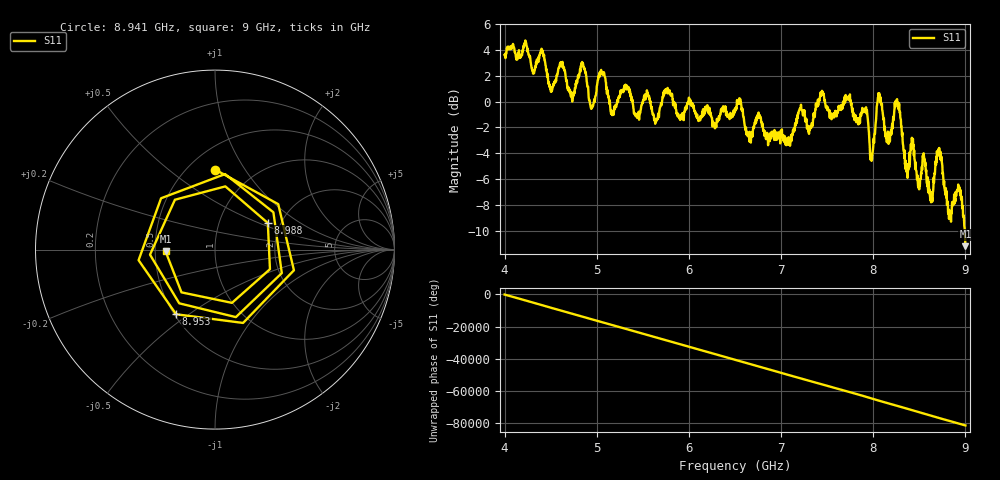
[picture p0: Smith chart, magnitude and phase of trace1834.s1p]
! Created with skrf 1.8.0 (http://scikit-rf.org).
# Hz S RI R 50.0
!freq ReS11 ImS11
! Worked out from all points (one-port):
!   1601 points, 4 GHz to 9 GHz, reference 50 ohm
!   lowest |S11| = -11.2 dB at 9 GHz (marker M1), VSWR 1.76, Z = 28.4 - j0.646 ohm
!   |S11| at or under -10 dB: 8.992923 GHz to end of sweep
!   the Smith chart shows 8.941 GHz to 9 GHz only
!   S11 on the Smith chart (normalised r, x): 8.941 GHz: 0.67, +0.75; 8.953 GHz: 0.51, -0.45; 8.988 GHz: 1.71, +0.57; 9 GHz: 0.57, -0.01
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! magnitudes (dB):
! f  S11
! 4 GHz  3.6
! 4.403 GHz  4.1
! 4.506 GHz  0.9
! 4.625 GHz  2.7
! 4.734 GHz  0.0
! 4.85 GHz  2.9
! 4.941 GHz  -0.6
! 5.056 GHz  2.2
! 5.162 GHz  -0.9
! 5.25 GHz  0.4
! 5.875 GHz  -1.0
! 6.5 GHz  -0.5
! 7.125 GHz  -2.6
! 7.75 GHz  0.1
! 7.916 GHz  -0.7
! 7.984 GHz  -4.6
! 8.062 GHz  0.5
! 8.156 GHz  -3.1
! 8.259 GHz  0.2
! 8.375 GHz  -5.5
! 8.425 GHz  -2.9
! 8.628 GHz  -7.8
! 8.716 GHz  -3.6
! 8.825 GHz  -8.4
! 8.941 GHz  -7.0
! 8.953 GHz  -7.5
! 8.988 GHz  -9.6
! 9 GHz  -11.2
